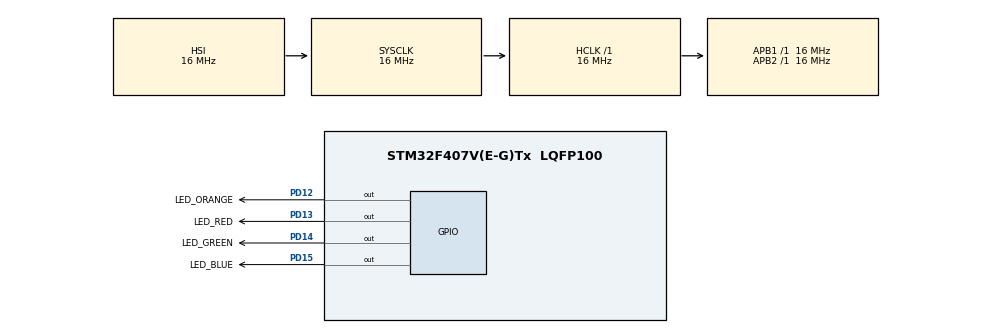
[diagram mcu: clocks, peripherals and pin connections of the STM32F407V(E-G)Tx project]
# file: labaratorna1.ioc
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Mcu.Family=STM32F4
Mcu.Name=STM32F407V(E-G)Tx
Mcu.Package=LQFP100
NVIC.PriorityGroup=NVIC_PRIORITYGROUP_4
PD12.GPIO_Label=LED_ORANGE
PD12.Signal=GPIO_Output
PD13.GPIO_Label=LED_RED
PD13.Signal=GPIO_Output
PD14.GPIO_Label=LED_GREEN
PD14.Signal=GPIO_Output
PD15.GPIO_Label=LED_BLUE
PD15.Signal=GPIO_Output
ProjectManager.HeapSize=0x200
ProjectManager.StackSize=0x400
ProjectManager.TargetToolchain=STM32CubeIDE
RCC.AHBFreq_Value=16000000
RCC.APB1Freq_Value=16000000
RCC.APB2Freq_Value=16000000
RCC.CortexFreq_Value=16000000
RCC.HSE_VALUE=25000000
RCC.HSI_VALUE=16000000
RCC.LSE_VALUE=32768
RCC.SYSCLKFreq_VALUE=16000000
RCC.VCOOutputFreq_Value=192000000
board=custom

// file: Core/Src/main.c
/* USER CODE BEGIN Header */
/**
  ******************************************************************************
  * @file           : main.c
  * @brief          : Main program body
  ******************************************************************************
  * @attention
  *
  * Copyright (c) 2024 STMicroelectronics.
  * All rights reserved.
  *
  * This software is licensed under terms that can be found in the LICENSE file
  * in the root directory of this software component.
  * If no LICENSE file comes with this software, it is provided AS-IS.
  *
  ******************************************************************************
  */
/* USER CODE END Header */
#include "main.h"

/* USER CODE BEGIN PD */
#define LED_SWITCH_DELAY (1000)
/* USER CODE END PD */

void SystemClock_Config(void);
static void MX_GPIO_Init(void);

int main(void)
{

  /* MCU Configuration--------------------------------------------------------*/

  /* Reset of all peripherals, Initializes the Flash interface and the Systick. */
  HAL_Init();

  /* Configure the system clock */
  SystemClock_Config();

  /* Initialize all configured peripherals */
  MX_GPIO_Init();

  /* Infinite loop */
  /* USER CODE BEGIN WHILE */
  while (1)
  {
	  HAL_GPIO_WritePin(GPIOD, LED_BLUE_Pin, GPIO_PIN_SET);
	  HAL_Delay(LED_SWITCH_DELAY);

	  HAL_GPIO_WritePin(GPIOD, LED_BLUE_Pin, GPIO_PIN_RESET);

	  HAL_GPIO_WritePin(GPIOD, LED_RED_Pin, GPIO_PIN_SET);
	  HAL_Delay(LED_SWITCH_DELAY);

	  HAL_GPIO_WritePin(GPIOD, LED_RED_Pin, GPIO_PIN_RESET);

	  HAL_GPIO_WritePin(GPIOD, LED_ORANGE_Pin, GPIO_PIN_SET);
	  HAL_Delay(LED_SWITCH_DELAY);

	  HAL_GPIO_WritePin(GPIOD, LED_ORANGE_Pin, GPIO_PIN_RESET);

	  HAL_GPIO_WritePin(GPIOD, LED_GREEN_Pin, GPIO_PIN_SET);
	  HAL_Delay(LED_SWITCH_DELAY);

	  HAL_GPIO_WritePin(GPIOD, LED_GREEN_Pin, GPIO_PIN_RESET);

	  	HAL_GPIO_WritePin(GPIOD, LED_BLUE_Pin, GPIO_PIN_SET);
	  	HAL_GPIO_WritePin(GPIOD, LED_RED_Pin, GPIO_PIN_SET);
	  	HAL_Delay(LED_SWITCH_DELAY);

	  	HAL_GPIO_WritePin(GPIOD, LED_BLUE_Pin, GPIO_PIN_RESET);
	  	HAL_GPIO_WritePin(GPIOD, LED_RED_Pin, GPIO_PIN_RESET);

	  	HAL_GPIO_WritePin(GPIOD, LED_RED_Pin, GPIO_PIN_SET);
	  	HAL_GPIO_WritePin(GPIOD, LED_ORANGE_Pin, GPIO_PIN_SET);
	  	HAL_Delay(LED_SWITCH_DELAY);

	  	HAL_GPIO_WritePin(GPIOD, LED_RED_Pin, GPIO_PIN_RESET);
	  	HAL_GPIO_WritePin(GPIOD, LED_ORANGE_Pin, GPIO_PIN_RESET);

	  	HAL_GPIO_WritePin(GPIOD, LED_ORANGE_Pin, GPIO_PIN_SET);
	  	HAL_GPIO_WritePin(GPIOD, LED_GREEN_Pin, GPIO_PIN_SET);
	  	HAL_Delay(LED_SWITCH_DELAY);

	  	HAL_GPIO_WritePin(GPIOD, LED_ORANGE_Pin, GPIO_PIN_RESET);
	  	HAL_GPIO_WritePin(GPIOD, LED_GREEN_Pin, GPIO_PIN_RESET);

	  	HAL_GPIO_WritePin(GPIOD, LED_GREEN_Pin, GPIO_PIN_SET);
	  	HAL_GPIO_WritePin(GPIOD, LED_BLUE_Pin, GPIO_PIN_SET);
	  	HAL_Delay(LED_SWITCH_DELAY);

	  	HAL_GPIO_WritePin(GPIOD, LED_GREEN_Pin, GPIO_PIN_RESET);
	  	HAL_GPIO_WritePin(GPIOD, LED_BLUE_Pin, GPIO_PIN_RESET);

	  	HAL_GPIO_WritePin(GPIOD, LED_BLUE_Pin, GPIO_PIN_SET);
	  	HAL_GPIO_WritePin(GPIOD, LED_RED_Pin, GPIO_PIN_SET);
	  	HAL_GPIO_WritePin(GPIOD, LED_ORANGE_Pin, GPIO_PIN_SET);
	  	HAL_Delay(LED_SWITCH_DELAY);

	  	HAL_GPIO_WritePin(GPIOD, LED_BLUE_Pin, GPIO_PIN_RESET);
	  	HAL_GPIO_WritePin(GPIOD, LED_RED_Pin, GPIO_PIN_RESET);
	  	HAL_GPIO_WritePin(GPIOD, LED_ORANGE_Pin, GPIO_PIN_RESET);

	  	HAL_GPIO_WritePin(GPIOD, LED_ORANGE_Pin, GPIO_PIN_SET);
	  	HAL_GPIO_WritePin(GPIOD, LED_GREEN_Pin, GPIO_PIN_SET);
	  	HAL_GPIO_WritePin(GPIOD, LED_BLUE_Pin, GPIO_PIN_SET);
	  	HAL_Delay(LED_SWITCH_DELAY);

	  	HAL_GPIO_WritePin(GPIOD, LED_ORANGE_Pin, GPIO_PIN_RESET);
	  	HAL_GPIO_WritePin(GPIOD, LED_GREEN_Pin, GPIO_PIN_RESET);
	  	HAL_GPIO_WritePin(GPIOD, LED_BLUE_Pin, GPIO_PIN_RESET);

	  	HAL_GPIO_WritePin(GPIOD, LED_RED_Pin, GPIO_PIN_SET);
	  	HAL_GPIO_WritePin(GPIOD, LED_BLUE_Pin, GPIO_PIN_SET);
	  	HAL_GPIO_WritePin(GPIOD, LED_GREEN_Pin, GPIO_PIN_SET);
	  	HAL_Delay(LED_SWITCH_DELAY);

	  	HAL_GPIO_WritePin(GPIOD, LED_RED_Pin, GPIO_PIN_RESET);
	  	HAL_GPIO_WritePin(GPIOD, LED_BLUE_Pin, GPIO_PIN_RESET);
	  	HAL_GPIO_WritePin(GPIOD, LED_GREEN_Pin, GPIO_PIN_RESET);

	  	HAL_GPIO_WritePin(GPIOD, LED_RED_Pin, GPIO_PIN_SET);
	  	HAL_GPIO_WritePin(GPIOD, LED_ORANGE_Pin, GPIO_PIN_SET);
	  	HAL_GPIO_WritePin(GPIOD, LED_GREEN_Pin, GPIO_PIN_SET);
	  	HAL_Delay(LED_SWITCH_DELAY);

	  	HAL_GPIO_WritePin(GPIOD, LED_RED_Pin, GPIO_PIN_RESET);
	  	HAL_GPIO_WritePin(GPIOD, LED_ORANGE_Pin, GPIO_PIN_RESET);
	  	HAL_GPIO_WritePin(GPIOD, LED_GREEN_Pin, GPIO_PIN_RESET);

	  	HAL_GPIO_WritePin(GPIOD, LED_BLUE_Pin, GPIO_PIN_SET);
	  	HAL_GPIO_WritePin(GPIOD, LED_RED_Pin, GPIO_PIN_SET);
	  	HAL_GPIO_WritePin(GPIOD, LED_ORANGE_Pin, GPIO_PIN_SET);
	  	HAL_GPIO_WritePin(GPIOD, LED_GREEN_Pin, GPIO_PIN_SET);
	  	HAL_Delay(LED_SWITCH_DELAY);

	  	HAL_GPIO_WritePin(GPIOD, LED_BLUE_Pin, GPIO_PIN_RESET);
	  	HAL_GPIO_WritePin(GPIOD, LED_RED_Pin, GPIO_PIN_RESET);
	  	HAL_GPIO_WritePin(GPIOD, LED_ORANGE_Pin, GPIO_PIN_RESET);
	  	HAL_GPIO_WritePin(GPIOD, LED_GREEN_Pin, GPIO_PIN_RESET);

	  	HAL_GPIO_WritePin(GPIOD, LED_BLUE_Pin, GPIO_PIN_SET);
	  	HAL_GPIO_WritePin(GPIOD, LED_RED_Pin, GPIO_PIN_SET);
	  	HAL_GPIO_WritePin(GPIOD, LED_ORANGE_Pin, GPIO_PIN_SET);
	  	HAL_GPIO_WritePin(GPIOD, LED_GREEN_Pin, GPIO_PIN_SET);
	  	HAL_Delay(LED_SWITCH_DELAY);

	  	HAL_GPIO_WritePin(GPIOD, LED_BLUE_Pin, GPIO_PIN_RESET);
	  	HAL_GPIO_WritePin(GPIOD, LED_RED_Pin, GPIO_PIN_RESET);
	  	HAL_GPIO_WritePin(GPIOD, LED_ORANGE_Pin, GPIO_PIN_RESET);
	  	HAL_GPIO_WritePin(GPIOD, LED_GREEN_Pin, GPIO_PIN_RESET);

    /* USER CODE END WHILE */

  }
}

void SystemClock_Config(void)
{
  RCC_OscInitTypeDef RCC_OscInitStruct = {0};
  RCC_ClkInitTypeDef RCC_ClkInitStruct = {0};

  /** Configure the main internal regulator output voltage
  */
  __HAL_RCC_PWR_CLK_ENABLE();
  __HAL_PWR_VOLTAGESCALING_CONFIG(PWR_REGULATOR_VOLTAGE_SCALE1);

  /** Initializes the RCC Oscillators according to the specified parameters
  * in the RCC_OscInitTypeDef structure.
  */
  RCC_OscInitStruct.OscillatorType = RCC_OSCILLATORTYPE_HSI;
  RCC_OscInitStruct.HSIState = RCC_HSI_ON;
  RCC_OscInitStruct.HSICalibrationValue = RCC_HSICALIBRATION_DEFAULT;
  RCC_OscInitStruct.PLL.PLLState = RCC_PLL_NONE;
  if (HAL_RCC_OscConfig(&RCC_OscInitStruct) != HAL_OK)
  {
    Error_Handler();
  }

  /** Initializes the CPU, AHB and APB buses clocks
  */
  RCC_ClkInitStruct.ClockType = RCC_CLOCKTYPE_HCLK|RCC_CLOCKTYPE_SYSCLK
                              |RCC_CLOCKTYPE_PCLK1|RCC_CLOCKTYPE_PCLK2;
  RCC_ClkInitStruct.SYSCLKSource = RCC_SYSCLKSOURCE_HSI;
  RCC_ClkInitStruct.AHBCLKDivider = RCC_SYSCLK_DIV1;
  RCC_ClkInitStruct.APB1CLKDivider = RCC_HCLK_DIV1;
  RCC_ClkInitStruct.APB2CLKDivider = RCC_HCLK_DIV1;

  if (HAL_RCC_ClockConfig(&RCC_ClkInitStruct, FLASH_LATENCY_0) != HAL_OK)
  {
    Error_Handler();
  }
}

static void MX_GPIO_Init(void)
{
  GPIO_InitTypeDef GPIO_InitStruct = {0};

  /* GPIO Ports Clock Enable */
  __HAL_RCC_GPIOD_CLK_ENABLE();

  /*Configure GPIO pin Output Level */
  HAL_GPIO_WritePin(GPIOD, LED_GREEN_Pin|LED_ORANGE_Pin|LED_RED_Pin|LED_BLUE_Pin, GPIO_PIN_RESET);

  /*Configure GPIO pins : LED_GREEN_Pin LED_ORANGE_Pin LED_RED_Pin LED_BLUE_Pin */
  GPIO_InitStruct.Pin = LED_GREEN_Pin|LED_ORANGE_Pin|LED_RED_Pin|LED_BLUE_Pin;
  GPIO_InitStruct.Mode = GPIO_MODE_OUTPUT_PP;
  GPIO_InitStruct.Pull = GPIO_NOPULL;
  GPIO_InitStruct.Speed = GPIO_SPEED_FREQ_LOW;
  HAL_GPIO_Init(GPIOD, &GPIO_InitStruct);

}

void Error_Handler(void)
{
  __disable_irq();
  while (1)
  {
  }
}
